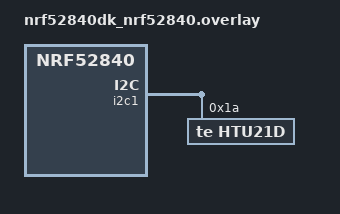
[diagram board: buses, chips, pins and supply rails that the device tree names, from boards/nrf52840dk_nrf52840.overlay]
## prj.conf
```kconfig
CONFIG_STDOUT_CONSOLE=y
CONFIG_I2C=y
CONFIG_SENSOR=y
CONFIG_ASSERT=y
CONFIG_HTU21D=y
#CONFIG_HTU21D_NH_MASTER=y
```

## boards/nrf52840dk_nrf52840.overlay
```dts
&i2c1 {
	status = "okay";
	htu21d@1a {
                compatible = "te,htu21d";
                reg = <0x1a>;
                label = "HTU21D";
        };
};
```

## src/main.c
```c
/*
 * Copyright (c) 2020 Linumiz
 *
 * SPDX-License-Identifier: Apache-2.0
 */

#include <zephyr.h>
#include <device.h>
#include <drivers/sensor.h>
#include <sys/printk.h>

static void do_main(const struct device *dev)
{
	int ret;
	struct sensor_value temp_value;
	struct sensor_value hum_value;
	
	while (1) {
			/*temperature*/
		ret = sensor_sample_fetch_chan(dev, SENSOR_CHAN_AMBIENT_TEMP);
		if (ret) {
			printk("sensor_sample_fetch failed ret %d\n", ret);
			return;
		}
		
		ret = sensor_channel_get(dev, SENSOR_CHAN_AMBIENT_TEMP, &temp_value);
		if (ret) {
			printk("sensor_channel_get failed ret %d\n", ret);
			return;
		}
		
		printk("temp is %d (%d micro)\n", temp_value.val1,
					       temp_value.val2);
		k_sleep(K_MSEC(1000));

			/*humidity*/
		ret = sensor_sample_fetch_chan(dev, SENSOR_CHAN_HUMIDITY);
                if (ret) {
                        printk("sensor_sample_fetch failed ret %d\n", ret);
                        return;
                }

		ret = sensor_channel_get(dev, SENSOR_CHAN_HUMIDITY, &hum_value);
                if (ret) {
                        printk("sensor_channel_get failed ret %d\n", ret);
                        return;
                }
                
		printk("humidity is %d (%d micro)\n", hum_value.val1,
                       				hum_value.val2);
                k_sleep(K_MSEC(1000));
	}
}

void main(void)
{
	const struct device *dev = DEVICE_DT_GET_ANY(te_htu21d);
	
	if(dev == NULL) {
		printk("Failed to get the device\n");
		return;
	}
	
	do_main(dev);
}
```
